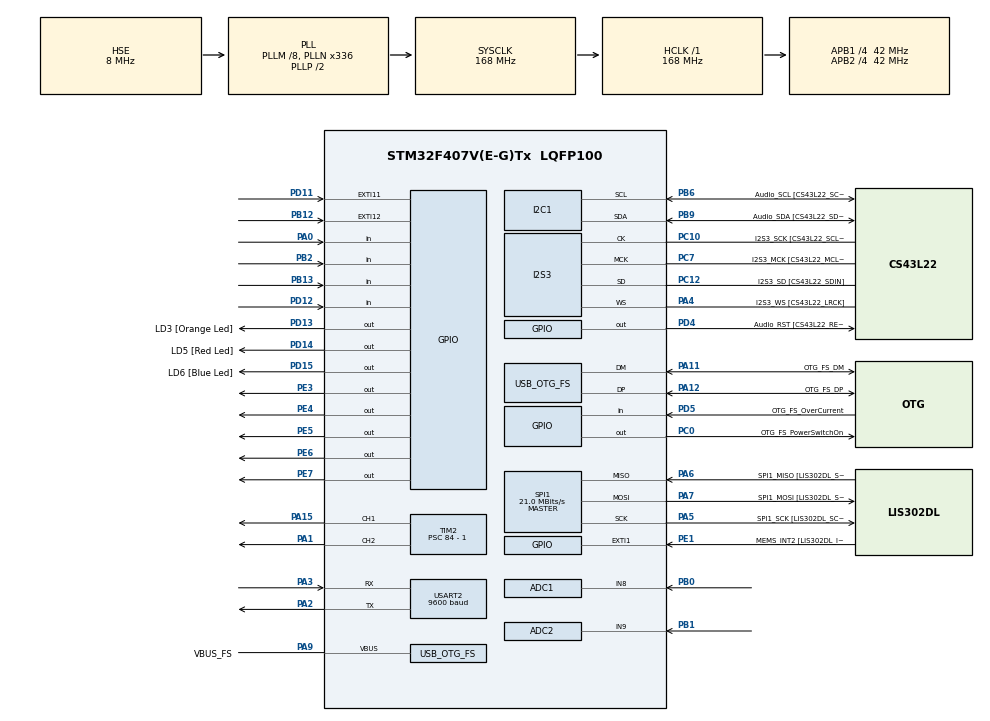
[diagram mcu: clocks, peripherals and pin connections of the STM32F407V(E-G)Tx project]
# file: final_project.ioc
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ADC1.Channel-1\#ChannelRegularConversion=ADC_CHANNEL_8
ADC1.ClockPrescaler=ADC_CLOCK_SYNC_PCLK_DIV8
ADC1.ContinuousConvMode=DISABLE
ADC1.NbrOfConversionFlag=1
ADC1.Rank-1\#ChannelRegularConversion=1
ADC1.SamplingTime-1\#ChannelRegularConversion=ADC_SAMPLETIME_3CYCLES
ADC1.master=1
ADC2.Channel-1\#ChannelRegularConversion=ADC_CHANNEL_9
ADC2.ClockPrescaler=ADC_CLOCK_SYNC_PCLK_DIV8
ADC2.ContinuousConvMode=DISABLE
ADC2.NbrOfConversionFlag=1
ADC2.Rank-1\#ChannelRegularConversion=1
ADC2.SamplingTime-1\#ChannelRegularConversion=ADC_SAMPLETIME_3CYCLES
I2S3.AudioFreq-Half_Duplex_Master=I2S_AUDIOFREQ_96K
I2S3.ErrorAudioFreq=-2.34 %
I2S3.ErrorAudioFreq-Half_Duplex_Master=0.8 %
I2S3.FullDuplexMode=I2S_FULLDUPLEXMODE_DISABLE
I2S3.Instance=SPI$Index
I2S3.RealAudioFreq=93.75 KHz
I2S3.RealAudioFreq-Half_Duplex_Master=96.774 KHz
I2S3.VirtualMode=I2S_MODE_MASTER
Mcu.Family=STM32F4
Mcu.Name=STM32F407V(E-G)Tx
Mcu.Package=LQFP100
NVIC.EXTI15_10_IRQn=true\:0\:0\:false\:false\:true\:true\:true\:true
NVIC.OTG_FS_IRQn=true\:0\:0\:false\:false\:true\:true\:true\:true
NVIC.PriorityGroup=NVIC_PRIORITYGROUP_2
NVIC.TIM4_IRQn=true\:2\:0\:true\:false\:true\:true\:true\:true
NVIC.USART2_IRQn=true\:0\:0\:false\:false\:true\:true\:true\:true
PA0-WKUP.GPIO_PuPd=GPIO_NOPULL
PA0-WKUP.Signal=GPIO_Input
PA1.Signal=S_TIM2_CH2
PA10.GPIO_Label=OTG_FS_ID
PA10.GPIO_Mode=GPIO_MODE_AF_PP
PA10.GPIO_PuPd=GPIO_NOPULL
PA10.GPIO_Speed=GPIO_SPEED_FREQ_LOW
PA10.Signal=USB_OTG_FS_ID
PA11.GPIO_Label=OTG_FS_DM
PA11.GPIO_Mode=GPIO_MODE_AF_PP
PA11.GPIO_PuPd=GPIO_NOPULL
PA11.GPIO_Speed=GPIO_SPEED_FREQ_LOW
PA11.Mode=Host_Only
PA11.Signal=USB_OTG_FS_DM
PA12.GPIO_Label=OTG_FS_DP
PA12.GPIO_Mode=GPIO_MODE_AF_PP
PA12.GPIO_PuPd=GPIO_NOPULL
PA12.GPIO_Speed=GPIO_SPEED_FREQ_LOW
PA12.Mode=Host_Only
PA12.Signal=USB_OTG_FS_DP
PA13.GPIO_Label=SWDIO
PA13.Mode=Serial_Wire
PA13.Signal=SYS_JTMS-SWDIO
PA14.GPIO_Label=SWCLK
PA14.Mode=Serial_Wire
PA14.Signal=SYS_JTCK-SWCLK
PA15.Signal=S_TIM2_CH1_ETR
PA2.Mode=Asynchronous
PA2.Signal=USART2_TX
PA3.Mode=Asynchronous
PA3.Signal=USART2_RX
PA4.GPIO_Label=I2S3_WS [CS43L22_LRCK]
PA4.GPIO_Mode=GPIO_MODE_AF_PP
PA4.GPIO_PuPd=GPIO_NOPULL
PA4.GPIO_Speed=GPIO_SPEED_FREQ_LOW
PA4.Mode=Half_Duplex_Master
PA4.Signal=I2S3_WS
PA5.GPIO_Label=SPI1_SCK [LIS302DL_SCL/SPC]
PA5.GPIO_Mode=GPIO_MODE_AF_PP
PA5.GPIO_PuPd=GPIO_NOPULL
PA5.GPIO_Speed=GPIO_SPEED_FREQ_LOW
PA5.Mode=Full_Duplex_Master
PA5.Signal=SPI1_SCK
PA6.GPIO_Label=SPI1_MISO [LIS302DL_SDO]
PA6.GPIO_Mode=GPIO_MODE_AF_PP
PA6.GPIO_PuPd=GPIO_NOPULL
PA6.GPIO_Speed=GPIO_SPEED_FREQ_LOW
PA6.Mode=Full_Duplex_Master
PA6.Signal=SPI1_MISO
PA7.GPIO_Label=SPI1_MOSI [LIS302DL_SDA/SDI/SDO]
PA7.GPIO_Mode=GPIO_MODE_AF_PP
PA7.GPIO_PuPd=GPIO_NOPULL
PA7.GPIO_Speed=GPIO_SPEED_FREQ_LOW
PA7.Mode=Full_Duplex_Master
PA7.Signal=SPI1_MOSI
PA9.GPIO_Label=VBUS_FS
PA9.GPIO_Mode=GPIO_MODE_INPUT
PA9.GPIO_PuPd=GPIO_NOPULL
PA9.Mode=Activate_VBUS
PA9.Signal=USB_OTG_FS_VBUS
PB0.Signal=ADCx_IN8
PB1.Signal=ADCx_IN9
PB10.GPIO_Label=CLK_IN [MP45DT02_CLK]
PB10.GPIO_Mode=GPIO_MODE_AF_PP
PB10.GPIO_PuPd=GPIO_NOPULL
PB10.GPIO_Speed=GPIO_SPEED_FREQ_LOW
PB10.Signal=I2S2_CK
PB12.GPIO_ModeDefaultEXTI=GPIO_MODE_IT_RISING_FALLING
PB12.GPIO_PuPd=GPIO_PULLDOWN
PB12.Signal=GPXTI12
PB13.GPIO_PuPd=GPIO_PULLDOWN
PB13.Signal=GPIO_Input
PB2.Signal=GPIO_Input
PB3.GPIO_Label=SWO
PB3.Signal=SYS_JTDO-SWO
PB6.GPIO_Label=Audio_SCL [CS43L22_SCL]
PB6.GPIO_Mode=GPIO_MODE_AF_OD
PB6.GPIO_Pu=GPIO_PULLUP
PB6.GPIO_PuPd=GPIO_NOPULL
PB6.GPIO_Speed=GPIO_SPEED_FREQ_LOW
PB6.Mode=I2C
PB6.Signal=I2C1_SCL
PB9.GPIO_Label=Audio_SDA [CS43L22_SDA]
PB9.GPIO_Mode=GPIO_MODE_AF_OD
PB9.GPIO_Pu=GPIO_PULLUP
PB9.GPIO_PuPd=GPIO_NOPULL
PB9.GPIO_Speed=GPIO_SPEED_FREQ_LOW
PB9.Mode=I2C
PB9.Signal=I2C1_SDA
PC0.GPIO_Label=OTG_FS_PowerSwitchOn
PC0.GPIO_PuPd=GPIO_NOPULL
PC0.GPIO_Speed=GPIO_SPEED_FREQ_LOW
PC0.PinState=GPIO_PIN_SET
PC0.Signal=GPIO_Output
PC10.GPIO_Label=I2S3_SCK [CS43L22_SCLK]
PC10.GPIO_Mode=GPIO_MODE_AF_PP
PC10.GPIO_PuPd=GPIO_NOPULL
PC10.GPIO_Speed=GPIO_SPEED_FREQ_LOW
PC10.Mode=Half_Duplex_Master
PC10.Signal=I2S3_CK
PC12.GPIO_Label=I2S3_SD [CS43L22_SDIN]
PC12.GPIO_Mode=GPIO_MODE_AF_PP
PC12.GPIO_PuPd=GPIO_NOPULL
PC12.GPIO_Speed=GPIO_SPEED_FREQ_LOW
PC12.Mode=Half_Duplex_Master
PC12.Signal=I2S3_SD
PC14-OSC32_IN.GPIO_Label=PC14-OSC32_IN
PC14-OSC32_IN.Mode=LSE-External-Oscillator
PC14-OSC32_IN.Signal=RCC_OSC32_IN
PC15-OSC32_OUT.GPIO_Label=PC15-OSC32_OUT
PC15-OSC32_OUT.Mode=LSE-External-Oscillator
PC15-OSC32_OUT.Signal=RCC_OSC32_OUT
PC3.GPIO_Label=PDM_OUT [MP45DT02_DOUT]
PC3.GPIO_Mode=GPIO_MODE_AF_PP
PC3.GPIO_PuPd=GPIO_NOPULL
PC3.GPIO_Speed=GPIO_SPEED_FREQ_LOW
PC3.Signal=I2S2_SD
PC7.GPIO_Label=I2S3_MCK [CS43L22_MCLK]
PC7.GPIO_Mode=GPIO_MODE_AF_PP
PC7.GPIO_PuPd=GPIO_NOPULL
PC7.GPIO_Speed=GPIO_SPEED_FREQ_LOW
PC7.Mode=Master_Clock_Activated
PC7.Signal=I2S3_MCK
PD11.GPIO_ModeDefaultEXTI=GPIO_MODE_IT_RISING_FALLING
PD11.GPIO_PuPd=GPIO_PULLDOWN
PD11.Signal=GPXTI11
PD12.GPIO_PuPd=GPIO_PULLDOWN
PD12.Signal=GPIO_Input
PD13.GPIO_Label=LD3 [Orange Led]
PD13.GPIO_PuPd=GPIO_NOPULL
PD13.GPIO_Speed=GPIO_SPEED_FREQ_LOW
PD13.Signal=GPIO_Output
PD14.GPIO_Label=LD5 [Red Led]
PD14.GPIO_PuPd=GPIO_NOPULL
PD14.GPIO_Speed=GPIO_SPEED_FREQ_LOW
PD14.Signal=GPIO_Output
PD15.GPIO_Label=LD6 [Blue Led]
PD15.GPIO_PuPd=GPIO_NOPULL
PD15.GPIO_Speed=GPIO_SPEED_FREQ_LOW
PD15.Signal=GPIO_Output
PD4.GPIO_Label=Audio_RST [CS43L22_RESET]
PD4.GPIO_PuPd=GPIO_NOPULL
PD4.GPIO_Speed=GPIO_SPEED_FREQ_LOW
PD4.Signal=GPIO_Output
PD5.GPIO_Label=OTG_FS_OverCurrent
PD5.GPIO_Mode=GPIO_MODE_INPUT
PD5.GPIO_PuPd=GPIO_NOPULL
PD5.Signal=GPIO_Input
PE1.GPIO_Label=MEMS_INT2 [LIS302DL_INT2]
PE1.GPIO_ModeDefaultEXTI=GPIO_MODE_EVT_RISING
PE1.GPIO_PuPd=GPIO_NOPULL
PE1.Signal=GPXTI1
PE3.Signal=GPIO_Output
PE4.GPIO_PuPd=GPIO_PULLDOWN
PE4.GPIO_Speed=GPIO_SPEED_FREQ_VERY_HIGH
PE4.Signal=GPIO_Output
PE5.GPIO_PuPd=GPIO_PULLDOWN
PE5.GPIO_Speed=GPIO_SPEED_FREQ_VERY_HIGH
PE5.Signal=GPIO_Output
PE6.GPIO_PuPd=GPIO_PULLDOWN
PE6.GPIO_Speed=GPIO_SPEED_FREQ_VERY_HIGH
PE6.Signal=GPIO_Output
PE7.GPIO_PuPd=GPIO_PULLDOWN
PE7.GPIO_Speed=GPIO_SPEED_FREQ_VERY_HIGH
PE7.Signal=GPIO_Output
PH0-OSC_IN.GPIO_Label=PH0-OSC_IN
PH0-OSC_IN.Mode=HSE-External-Oscillator
PH0-OSC_IN.Signal=RCC_OSC_IN
PH1-OSC_OUT.GPIO_Label=PH1-OSC_OUT
PH1-OSC_OUT.Mode=HSE-External-Oscillator
PH1-OSC_OUT.Signal=RCC_OSC_OUT
ProjectManager.HeapSize=0x200
ProjectManager.StackSize=0x400
ProjectManager.TargetToolchain=STM32CubeIDE
RCC.48MHZClocksFreq_Value=48000000
RCC.AHBFreq_Value=168000000
RCC.APB1CLKDivider=RCC_HCLK_DIV4
RCC.APB1Freq_Value=42000000
RCC.APB1TimFreq_Value=84000000
RCC.APB2CLKDivider=RCC_HCLK_DIV4
RCC.APB2Freq_Value=42000000
RCC.APB2TimFreq_Value=84000000
RCC.CortexFreq_Value=168000000
RCC.HCLKFreq_Value=168000000
RCC.HSE_VALUE=8000000
RCC.HSI_VALUE=16000000
RCC.PLLM=8
RCC.PLLN=336
RCC.PLLQ=7
RCC.SYSCLKFreq_VALUE=168000000
RCC.SYSCLKSource=RCC_SYSCLKSOURCE_PLLCLK
RCC.VCOOutputFreq_Value=336000000
SH.ADCx_IN8.0=ADC1_IN8,IN8
SH.ADCx_IN9.0=ADC2_IN9,IN9
SH.S_TIM2_CH1_ETR.0=TIM2_CH1,PWM Generation1 CH1
SH.S_TIM2_CH2.0=TIM2_CH2,PWM Generation2 CH2
SPI1.BaudRatePrescaler-Full_Duplex_Master=SPI_BAUDRATEPRESCALER_2
SPI1.CalculateBaudRate=21.0 MBits/s
SPI1.CalculateBaudRate-Full_Duplex_Master=42.0 MBits/s
SPI1.Direction=SPI_DIRECTION_2LINES
SPI1.Mode=SPI_MODE_MASTER
SPI1.Mode-Full_Duplex_Master=SPI_MODE_MASTER
SPI1.VirtualType=VM_MASTER
TIM2.AutoReloadPreload=TIM_AUTORELOAD_PRELOAD_ENABLE
TIM2.Channel-PWM\ Generation1\ CH1=TIM_CHANNEL_1
TIM2.Channel-PWM\ Generation2\ CH2=TIM_CHANNEL_2
TIM2.OCMode_PWM-PWM\ Generation1\ CH1=TIM_OCMODE_PWM1
TIM2.Period=1000 - 1
TIM2.Prescaler=84 - 1
TIM4.AutoReloadPreload=TIM_AUTORELOAD_PRELOAD_ENABLE
TIM4.Period=1000 - 1
TIM4.Prescaler=(84*100) - 1
USART2.BaudRate=9600
USART2.VirtualMode=VM_ASYNC
USB_HOST.BSP.number=1
USB_HOST.USBH_HandleTypeDef-CDC_FS=hUsbHostFS
USB_HOST.VirtualModeFS=Cdc
USB_HOST0.BSP.STBoard=false
USB_HOST0.BSP.api=Unknown
USB_HOST0.BSP.i2caddr=0
USB_HOST0.BSP.i2creg=0
USB_HOST0.BSP.instance=PC0
USB_HOST0.BSP.ip=GPIO
USB_HOST0.BSP.mode=Output
USB_HOST0.BSP.name=Drive_VBUS_FS
USB_HOST0.BSP.solution=PC0
USB_OTG_FS.VirtualMode=Host_Only
USB_OTG_FS.phy_itface=HCD_PHY_EMBEDDED
VP_TIM2_VS_ClockSourceINT.Mode=Internal
VP_TIM4_VS_ClockSourceINT.Mode=Internal
VP_USB_HOST_VS_USB_HOST_CDC_FS.Mode=CDC_FS
board=STM32F407G-DISC1

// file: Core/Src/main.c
/* USER CODE BEGIN Header */
/**
  ******************************************************************************
  * @file           : main.c
  * @brief          : Main program body
  ******************************************************************************
  * @attention
  *
  * Copyright (c) 2022 STMicroelectronics.
  * All rights reserved.
  *
  * This software is licensed under terms that can be found in the LICENSE file
  * in the root directory of this software component.
  * If no LICENSE file comes with this software, it is provided AS-IS.
  *
  ******************************************************************************
  */
/* USER CODE END Header */
#include "main.h"
#include "usb_host.h"

/* USER CODE BEGIN Includes */
#include "tdk_pid_controller.h"
/* USER CODE END Includes */

ADC_HandleTypeDef hadc1;
ADC_HandleTypeDef hadc2;

I2C_HandleTypeDef hi2c1;

I2S_HandleTypeDef hi2s3;

SPI_HandleTypeDef hspi1;

TIM_HandleTypeDef htim2;
TIM_HandleTypeDef htim4;

UART_HandleTypeDef huart2;

void SystemClock_Config(void);
static void MX_GPIO_Init(void);
static void MX_I2C1_Init(void);
static void MX_I2S3_Init(void);
static void MX_SPI1_Init(void);
static void MX_TIM2_Init(void);
static void MX_TIM4_Init(void);
static void MX_USART2_UART_Init(void);
static void MX_ADC1_Init(void);
static void MX_ADC2_Init(void);
void MX_USB_HOST_Process(void);

int main(void)
{

  /* MCU Configuration--------------------------------------------------------*/

  /* Reset of all peripherals, Initializes the Flash interface and the Systick. */
  HAL_Init();

  /* Configure the system clock */
  SystemClock_Config();

  /* Initialize all configured peripherals */
  MX_GPIO_Init();
  MX_I2C1_Init();
  MX_I2S3_Init();
  MX_SPI1_Init();
  MX_USB_HOST_Init();
  MX_TIM2_Init();
  MX_TIM4_Init();
  MX_USART2_UART_Init();
  MX_ADC1_Init();
  MX_ADC2_Init();
  /* USER CODE BEGIN 2 */

  set_Temp_Adc(&hadc1);
  set_Co_Adc(&hadc2);
  set_Adc_Uart(&huart2);

  adc_Init();

  set_Pwm_TIM(&htim2);
  set_Pid_TIM(&htim4);
  set_Pid_Uart(&huart2);

  pid_Init();

  HAL_UART_Receive_IT(&huart2, rx_Data, 10);

  /* USER CODE END 2 */

  /* Infinite loop */
  while (1)
  {
    MX_USB_HOST_Process();

    /* USER CODE BEGIN 3 */
    HAL_Delay(500);

  }
  /* USER CODE END 3 */
}

void SystemClock_Config(void)
{
  RCC_OscInitTypeDef RCC_OscInitStruct = {0};
  RCC_ClkInitTypeDef RCC_ClkInitStruct = {0};

  /** Configure the main internal regulator output voltage
  */
  __HAL_RCC_PWR_CLK_ENABLE();
  __HAL_PWR_VOLTAGESCALING_CONFIG(PWR_REGULATOR_VOLTAGE_SCALE1);

  /** Initializes the RCC Oscillators according to the specified parameters
  * in the RCC_OscInitTypeDef structure.
  */
  RCC_OscInitStruct.OscillatorType = RCC_OSCILLATORTYPE_HSE;
  RCC_OscInitStruct.HSEState = RCC_HSE_ON;
  RCC_OscInitStruct.PLL.PLLState = RCC_PLL_ON;
  RCC_OscInitStruct.PLL.PLLSource = RCC_PLLSOURCE_HSE;
  RCC_OscInitStruct.PLL.PLLM = 8;
  RCC_OscInitStruct.PLL.PLLN = 336;
  RCC_OscInitStruct.PLL.PLLP = RCC_PLLP_DIV2;
  RCC_OscInitStruct.PLL.PLLQ = 7;
  if (HAL_RCC_OscConfig(&RCC_OscInitStruct) != HAL_OK)
  {
    Error_Handler();
  }

  /** Initializes the CPU, AHB and APB buses clocks
  */
  RCC_ClkInitStruct.ClockType = RCC_CLOCKTYPE_HCLK|RCC_CLOCKTYPE_SYSCLK
                              |RCC_CLOCKTYPE_PCLK1|RCC_CLOCKTYPE_PCLK2;
  RCC_ClkInitStruct.SYSCLKSource = RCC_SYSCLKSOURCE_PLLCLK;
  RCC_ClkInitStruct.AHBCLKDivider = RCC_SYSCLK_DIV1;
  RCC_ClkInitStruct.APB1CLKDivider = RCC_HCLK_DIV4;
  RCC_ClkInitStruct.APB2CLKDivider = RCC_HCLK_DIV4;

  if (HAL_RCC_ClockConfig(&RCC_ClkInitStruct, FLASH_LATENCY_5) != HAL_OK)
  {
    Error_Handler();
  }
}

static void MX_ADC1_Init(void)
{

  ADC_ChannelConfTypeDef sConfig = {0};

  /** Configure the global features of the ADC (Clock, Resolution, Data Alignment and number of conversion)
  */
  hadc1.Instance = ADC1;
  hadc1.Init.ClockPrescaler = ADC_CLOCK_SYNC_PCLK_DIV8;
  hadc1.Init.Resolution = ADC_RESOLUTION_12B;
  hadc1.Init.ScanConvMode = DISABLE;
  hadc1.Init.ContinuousConvMode = DISABLE;
  hadc1.Init.DiscontinuousConvMode = DISABLE;
  hadc1.Init.ExternalTrigConvEdge = ADC_EXTERNALTRIGCONVEDGE_NONE;
  hadc1.Init.ExternalTrigConv = ADC_SOFTWARE_START;
  hadc1.Init.DataAlign = ADC_DATAALIGN_RIGHT;
  hadc1.Init.NbrOfConversion = 1;
  hadc1.Init.DMAContinuousRequests = DISABLE;
  hadc1.Init.EOCSelection = ADC_EOC_SINGLE_CONV;
  if (HAL_ADC_Init(&hadc1) != HAL_OK)
  {
    Error_Handler();
  }

  /** Configure for the selected ADC regular channel its corresponding rank in the sequencer and its sample time.
  */
  sConfig.Channel = ADC_CHANNEL_8;
  sConfig.Rank = 1;
  sConfig.SamplingTime = ADC_SAMPLETIME_3CYCLES;
  if (HAL_ADC_ConfigChannel(&hadc1, &sConfig) != HAL_OK)
  {
    Error_Handler();
  }

}

static void MX_ADC2_Init(void)
{

  ADC_ChannelConfTypeDef sConfig = {0};

  /** Configure the global features of the ADC (Clock, Resolution, Data Alignment and number of conversion)
  */
  hadc2.Instance = ADC2;
  hadc2.Init.ClockPrescaler = ADC_CLOCK_SYNC_PCLK_DIV8;
  hadc2.Init.Resolution = ADC_RESOLUTION_12B;
  hadc2.Init.ScanConvMode = DISABLE;
  hadc2.Init.ContinuousConvMode = DISABLE;
  hadc2.Init.DiscontinuousConvMode = DISABLE;
  hadc2.Init.ExternalTrigConvEdge = ADC_EXTERNALTRIGCONVEDGE_NONE;
  hadc2.Init.ExternalTrigConv = ADC_SOFTWARE_START;
  hadc2.Init.DataAlign = ADC_DATAALIGN_RIGHT;
  hadc2.Init.NbrOfConversion = 1;
  hadc2.Init.DMAContinuousRequests = DISABLE;
  hadc2.Init.EOCSelection = ADC_EOC_SINGLE_CONV;
  if (HAL_ADC_Init(&hadc2) != HAL_OK)
  {
    Error_Handler();
  }

  /** Configure for the selected ADC regular channel its corresponding rank in the sequencer and its sample time.
  */
  sConfig.Channel = ADC_CHANNEL_9;
  sConfig.Rank = 1;
  sConfig.SamplingTime = ADC_SAMPLETIME_3CYCLES;
  if (HAL_ADC_ConfigChannel(&hadc2, &sConfig) != HAL_OK)
  {
    Error_Handler();
  }

}

static void MX_I2C1_Init(void)
{

  hi2c1.Instance = I2C1;
  hi2c1.Init.ClockSpeed = 100000;
  hi2c1.Init.DutyCycle = I2C_DUTYCYCLE_2;
  hi2c1.Init.OwnAddress1 = 0;
  hi2c1.Init.AddressingMode = I2C_ADDRESSINGMODE_7BIT;
  hi2c1.Init.DualAddressMode = I2C_DUALADDRESS_DISABLE;
  hi2c1.Init.OwnAddress2 = 0;
  hi2c1.Init.GeneralCallMode = I2C_GENERALCALL_DISABLE;
  hi2c1.Init.NoStretchMode = I2C_NOSTRETCH_DISABLE;
  if (HAL_I2C_Init(&hi2c1) != HAL_OK)
  {
    Error_Handler();
  }

}

static void MX_I2S3_Init(void)
{

  hi2s3.Instance = SPI3;
  hi2s3.Init.Mode = I2S_MODE_MASTER_TX;
  hi2s3.Init.Standard = I2S_STANDARD_PHILIPS;
  hi2s3.Init.DataFormat = I2S_DATAFORMAT_16B;
  hi2s3.Init.MCLKOutput = I2S_MCLKOUTPUT_ENABLE;
  hi2s3.Init.AudioFreq = I2S_AUDIOFREQ_96K;
  hi2s3.Init.CPOL = I2S_CPOL_LOW;
  hi2s3.Init.ClockSource = I2S_CLOCK_PLL;
  hi2s3.Init.FullDuplexMode = I2S_FULLDUPLEXMODE_DISABLE;
  if (HAL_I2S_Init(&hi2s3) != HAL_OK)
  {
    Error_Handler();
  }

}

static void MX_SPI1_Init(void)
{

  /* SPI1 parameter configuration*/
  hspi1.Instance = SPI1;
  hspi1.Init.Mode = SPI_MODE_MASTER;
  hspi1.Init.Direction = SPI_DIRECTION_2LINES;
  hspi1.Init.DataSize = SPI_DATASIZE_8BIT;
  hspi1.Init.CLKPolarity = SPI_POLARITY_LOW;
  hspi1.Init.CLKPhase = SPI_PHASE_1EDGE;
  hspi1.Init.NSS = SPI_NSS_SOFT;
  hspi1.Init.BaudRatePrescaler = SPI_BAUDRATEPRESCALER_2;
  hspi1.Init.FirstBit = SPI_FIRSTBIT_MSB;
  hspi1.Init.TIMode = SPI_TIMODE_DISABLE;
  hspi1.Init.CRCCalculation = SPI_CRCCALCULATION_DISABLE;
  hspi1.Init.CRCPolynomial = 10;
  if (HAL_SPI_Init(&hspi1) != HAL_OK)
  {
    Error_Handler();
  }

}

static void MX_TIM2_Init(void)
{

  TIM_ClockConfigTypeDef sClockSourceConfig = {0};
  TIM_MasterConfigTypeDef sMasterConfig = {0};
  TIM_OC_InitTypeDef sConfigOC = {0};

  htim2.Instance = TIM2;
  htim2.Init.Prescaler = 84 - 1;
  htim2.Init.CounterMode = TIM_COUNTERMODE_UP;
  htim2.Init.Period = 1000 - 1;
  htim2.Init.ClockDivision = TIM_CLOCKDIVISION_DIV1;
  htim2.Init.AutoReloadPreload = TIM_AUTORELOAD_PRELOAD_ENABLE;
  if (HAL_TIM_Base_Init(&htim2) != HAL_OK)
  {
    Error_Handler();
  }
  sClockSourceConfig.ClockSource = TIM_CLOCKSOURCE_INTERNAL;
  if (HAL_TIM_ConfigClockSource(&htim2, &sClockSourceConfig) != HAL_OK)
  {
    Error_Handler();
  }
  if (HAL_TIM_PWM_Init(&htim2) != HAL_OK)
  {
    Error_Handler();
  }
  sMasterConfig.MasterOutputTrigger = TIM_TRGO_RESET;
  sMasterConfig.MasterSlaveMode = TIM_MASTERSLAVEMODE_DISABLE;
  if (HAL_TIMEx_MasterConfigSynchronization(&htim2, &sMasterConfig) != HAL_OK)
  {
    Error_Handler();
  }
  sConfigOC.OCMode = TIM_OCMODE_PWM1;
  sConfigOC.Pulse = 0;
  sConfigOC.OCPolarity = TIM_OCPOLARITY_HIGH;
  sConfigOC.OCFastMode = TIM_OCFAST_DISABLE;
  if (HAL_TIM_PWM_ConfigChannel(&htim2, &sConfigOC, TIM_CHANNEL_1) != HAL_OK)
  {
    Error_Handler();
  }
  if (HAL_TIM_PWM_ConfigChannel(&htim2, &sConfigOC, TIM_CHANNEL_2) != HAL_OK)
  {
    Error_Handler();
  }
  HAL_TIM_MspPostInit(&htim2);

}

static void MX_TIM4_Init(void)
{

  TIM_ClockConfigTypeDef sClockSourceConfig = {0};
  TIM_MasterConfigTypeDef sMasterConfig = {0};

  htim4.Instance = TIM4;
  htim4.Init.Prescaler = (84*100) - 1;
  htim4.Init.CounterMode = TIM_COUNTERMODE_UP;
  htim4.Init.Period = 1000 - 1;
  htim4.Init.ClockDivision = TIM_CLOCKDIVISION_DIV1;
  htim4.Init.AutoReloadPreload = TIM_AUTORELOAD_PRELOAD_ENABLE;
  if (HAL_TIM_Base_Init(&htim4) != HAL_OK)
  {
    Error_Handler();
  }
  sClockSourceConfig.ClockSource = TIM_CLOCKSOURCE_INTERNAL;
  if (HAL_TIM_ConfigClockSource(&htim4, &sClockSourceConfig) != HAL_OK)
  {
    Error_Handler();
  }
  sMasterConfig.MasterOutputTrigger = TIM_TRGO_RESET;
  sMasterConfig.MasterSlaveMode = TIM_MASTERSLAVEMODE_DISABLE;
  if (HAL_TIMEx_MasterConfigSynchronization(&htim4, &sMasterConfig) != HAL_OK)
  {
    Error_Handler();
  }

}

static void MX_USART2_UART_Init(void)
{

  huart2.Instance = USART2;
  huart2.Init.BaudRate = 9600;
  huart2.Init.WordLength = UART_WORDLENGTH_8B;
  huart2.Init.StopBits = UART_STOPBITS_1;
  huart2.Init.Parity = UART_PARITY_NONE;
  huart2.Init.Mode = UART_MODE_TX_RX;
  huart2.Init.HwFlowCtl = UART_HWCONTROL_NONE;
  huart2.Init.OverSampling = UART_OVERSAMPLING_16;
  if (HAL_UART_Init(&huart2) != HAL_OK)
  {
    Error_Handler();
  }

}

static void MX_GPIO_Init(void)
{
  GPIO_InitTypeDef GPIO_InitStruct = {0};

  /* GPIO Ports Clock Enable */
  __HAL_RCC_GPIOE_CLK_ENABLE();
  __HAL_RCC_GPIOC_CLK_ENABLE();
  __HAL_RCC_GPIOH_CLK_ENABLE();
  __HAL_RCC_GPIOA_CLK_ENABLE();
  __HAL_RCC_GPIOB_CLK_ENABLE();
  __HAL_RCC_GPIOD_CLK_ENABLE();

  /*Configure GPIO pin Output Level */
  HAL_GPIO_WritePin(GPIOE, GPIO_PIN_3|GPIO_PIN_4|GPIO_PIN_5|GPIO_PIN_6
                          |GPIO_PIN_7, GPIO_PIN_RESET);

  /*Configure GPIO pin Output Level */
  HAL_GPIO_WritePin(OTG_FS_PowerSwitchOn_GPIO_Port, OTG_FS_PowerSwitchOn_Pin, GPIO_PIN_SET);

  /*Configure GPIO pin Output Level */
  HAL_GPIO_WritePin(GPIOD, LD3_Pin|LD5_Pin|LD6_Pin|Audio_RST_Pin, GPIO_PIN_RESET);

  /*Configure GPIO pin : PE3 */
  GPIO_InitStruct.Pin = GPIO_PIN_3;
  GPIO_InitStruct.Mode = GPIO_MODE_OUTPUT_PP;
  GPIO_InitStruct.Pull = GPIO_NOPULL;
  GPIO_InitStruct.Speed = GPIO_SPEED_FREQ_LOW;
  HAL_GPIO_Init(GPIOE, &GPIO_InitStruct);

  /*Configure GPIO pins : PE4 PE5 PE6 PE7 */
  GPIO_InitStruct.Pin = GPIO_PIN_4|GPIO_PIN_5|GPIO_PIN_6|GPIO_PIN_7;
  GPIO_InitStruct.Mode = GPIO_MODE_OUTPUT_PP;
  GPIO_InitStruct.Pull = GPIO_PULLDOWN;
  GPIO_InitStruct.Speed = GPIO_SPEED_FREQ_VERY_HIGH;
  HAL_GPIO_Init(GPIOE, &GPIO_InitStruct);

  /*Configure GPIO pin : OTG_FS_PowerSwitchOn_Pin */
  GPIO_InitStruct.Pin = OTG_FS_PowerSwitchOn_Pin;
  GPIO_InitStruct.Mode = GPIO_MODE_OUTPUT_PP;
  GPIO_InitStruct.Pull = GPIO_NOPULL;
  GPIO_InitStruct.Speed = GPIO_SPEED_FREQ_LOW;
  HAL_GPIO_Init(OTG_FS_PowerSwitchOn_GPIO_Port, &GPIO_InitStruct);

  /*Configure GPIO pin : PDM_OUT_Pin */
  GPIO_InitStruct.Pin = PDM_OUT_Pin;
  GPIO_InitStruct.Mode = GPIO_MODE_AF_PP;
  GPIO_InitStruct.Pull = GPIO_NOPULL;
  GPIO_InitStruct.Speed = GPIO_SPEED_FREQ_LOW;
  GPIO_InitStruct.Alternate = GPIO_AF5_SPI2;
  HAL_GPIO_Init(PDM_OUT_GPIO_Port, &GPIO_InitStruct);

  /*Configure GPIO pin : PA0 */
  GPIO_InitStruct.Pin = GPIO_PIN_0;
  GPIO_InitStruct.Mode = GPIO_MODE_INPUT;
  GPIO_InitStruct.Pull = GPIO_NOPULL;
  HAL_GPIO_Init(GPIOA, &GPIO_InitStruct);

  /*Configure GPIO pin : PB2 */
  GPIO_InitStruct.Pin = GPIO_PIN_2;
  GPIO_InitStruct.Mode = GPIO_MODE_INPUT;
  GPIO_InitStruct.Pull = GPIO_NOPULL;
  HAL_GPIO_Init(GPIOB, &GPIO_InitStruct);

  /*Configure GPIO pin : CLK_IN_Pin */
  GPIO_InitStruct.Pin = CLK_IN_Pin;
  GPIO_InitStruct.Mode = GPIO_MODE_AF_PP;
  GPIO_InitStruct.Pull = GPIO_NOPULL;
  GPIO_InitStruct.Speed = GPIO_SPEED_FREQ_LOW;
  GPIO_InitStruct.Alternate = GPIO_AF5_SPI2;
  HAL_GPIO_Init(CLK_IN_GPIO_Port, &GPIO_InitStruct);

  /*Configure GPIO pin : PB12 */
  GPIO_InitStruct.Pin = GPIO_PIN_12;
  GPIO_InitStruct.Mode = GPIO_MODE_IT_RISING_FALLING;
  GPIO_InitStruct.Pull = GPIO_PULLDOWN;
  HAL_GPIO_Init(GPIOB, &GPIO_InitStruct);

  /*Configure GPIO pin : PB13 */
  GPIO_InitStruct.Pin = GPIO_PIN_13;
  GPIO_InitStruct.Mode = GPIO_MODE_INPUT;
  GPIO_InitStruct.Pull = GPIO_PULLDOWN;
  HAL_GPIO_Init(GPIOB, &GPIO_InitStruct);

  /*Configure GPIO pin : PD11 */
  GPIO_InitStruct.Pin = GPIO_PIN_11;
  GPIO_InitStruct.Mode = GPIO_MODE_IT_RISING_FALLING;
  GPIO_InitStruct.Pull = GPIO_PULLDOWN;
  HAL_GPIO_Init(GPIOD, &GPIO_InitStruct);

  /*Configure GPIO pin : PD12 */
  GPIO_InitStruct.Pin = GPIO_PIN_12;
  GPIO_InitStruct.Mode = GPIO_MODE_INPUT;
  GPIO_InitStruct.Pull = GPIO_PULLDOWN;
  HAL_GPIO_Init(GPIOD, &GPIO_InitStruct);

  /*Configure GPIO pins : LD3_Pin LD5_Pin LD6_Pin Audio_RST_Pin */
  GPIO_InitStruct.Pin = LD3_Pin|LD5_Pin|LD6_Pin|Audio_RST_Pin;
  GPIO_InitStruct.Mode = GPIO_MODE_OUTPUT_PP;
  GPIO_InitStruct.Pull = GPIO_NOPULL;
  GPIO_InitStruct.Speed = GPIO_SPEED_FREQ_LOW;
  HAL_GPIO_Init(GPIOD, &GPIO_InitStruct);

  /*Configure GPIO pin : OTG_FS_OverCurrent_Pin */
  GPIO_InitStruct.Pin = OTG_FS_OverCurrent_Pin;
  GPIO_InitStruct.Mode = GPIO_MODE_INPUT;
  GPIO_InitStruct.Pull = GPIO_NOPULL;
  HAL_GPIO_Init(OTG_FS_OverCurrent_GPIO_Port, &GPIO_InitStruct);

  /*Configure GPIO pin : MEMS_INT2_Pin */
  GPIO_InitStruct.Pin = MEMS_INT2_Pin;
  GPIO_InitStruct.Mode = GPIO_MODE_EVT_RISING;
  GPIO_InitStruct.Pull = GPIO_NOPULL;
  HAL_GPIO_Init(MEMS_INT2_GPIO_Port, &GPIO_InitStruct);

  /* EXTI interrupt init*/
  HAL_NVIC_SetPriority(EXTI15_10_IRQn, 0, 0);
  HAL_NVIC_EnableIRQ(EXTI15_10_IRQn);

}

/* USER CODE BEGIN 4 */
void HAL_UART_RxCpltCallback(UART_HandleTypeDef *huart){
	if(huart->Instance == USART2){

		if(rx_Data[0] == 255 && rx_Data[9] == 254){

		pid_Start(rx_Data[1],rx_Data[2]);

		}

		for(int i = 0; i < 10; i++){
				rx_Data[i] = 0;
			}
		//HAL_UART_Receive_IT(pid_Uart, rx_Data, 10);
	}

	return;
}
/* USER CODE END 4 */

void Error_Handler(void)
{
  __disable_irq();
  while (1)
  {
  }
}
